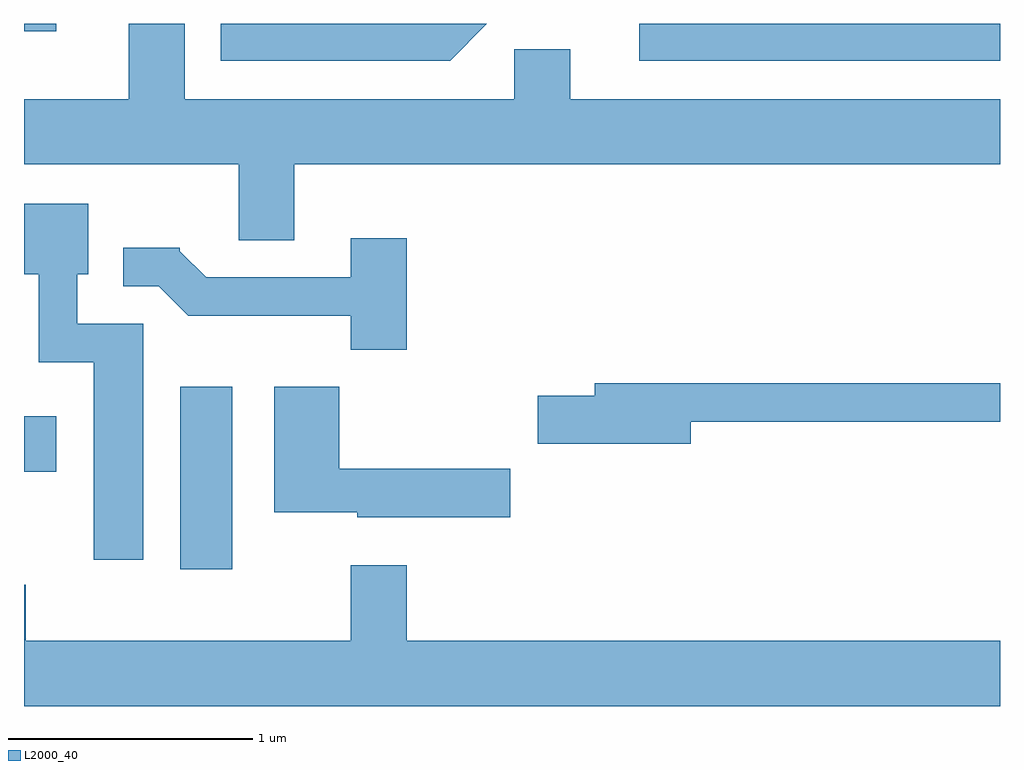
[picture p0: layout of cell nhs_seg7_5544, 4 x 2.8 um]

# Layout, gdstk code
import gdstk
lib = gdstk.Library(unit=1e-6, precision=1e-09)
def R(c, l, rs):  # rectangles x0, y0, x1, y1
    for r in rs: c.add(gdstk.rectangle(r[:2], r[2:], *l))
def P(c, l, *ps):  # polygons
    for p in ps: c.add(gdstk.Polygon(p, *l))
L2000_40 = (2000, 40)

nhs_seg7_5544 = lib.new_cell('nhs_seg7_5544')
R(nhs_seg7_5544, L2000_40, [(356.251,1686.016,356.464,1686.764), (355.611,1686.416,355.744,1686.644), (358.133,1688.101,359.611,1688.252), (355.611,1688.221,355.744,1688.252)])
P(nhs_seg7_5544, L2000_40, [(356.719,1687.676),(359.611,1687.676),(359.611,1687.944),(357.849,1687.944),(357.849,1688.149),(357.621,1688.149),(357.621,1687.944),(356.269,1687.944),(356.269,1688.252),(356.041,1688.252),(356.041,1687.944),(355.611,1687.944),(355.611,1687.676),(356.491,1687.676),(356.491,1687.366),(356.719,1687.366)],
  [(357.508,1688.252),(356.418,1688.252),(356.418,1688.101),(357.357,1688.101)],
  [(356.099,1687.024),(355.829,1687.024),(355.829,1687.226),(355.874,1687.226),(355.874,1687.514),(355.611,1687.514),(355.611,1687.226),(355.671,1687.226),(355.671,1686.866),(355.896,1686.866),(355.896,1686.056),(356.099,1686.056)],
  [(357.179,1687.374),(356.951,1687.374),(356.951,1687.214),(356.357,1687.214),(356.25,1687.321),(356.25,1687.334),(356.018,1687.334),(356.018,1687.176),(356.164,1687.176),(356.284,1687.056),(356.951,1687.056),(356.951,1686.916),(357.179,1686.916)],
  [(358.344,1686.621),(359.611,1686.621),(359.611,1686.779),(357.951,1686.779),(357.951,1686.729),(357.716,1686.729),(357.716,1686.531),(358.344,1686.531)],
  [(357.604,1686.429),(356.904,1686.429),(356.904,1686.764),(356.636,1686.764),(356.636,1686.251),(356.976,1686.251),(356.976,1686.231),(357.604,1686.231)],
  [(359.611,1685.724),(357.179,1685.724),(357.179,1686.034),(356.951,1686.034),(356.951,1685.724),(355.619,1685.724),(355.619,1685.954),(355.611,1685.954),(355.611,1685.456),(359.611,1685.456)])

lib.write_gds('nhs_seg7_5544.gds')
